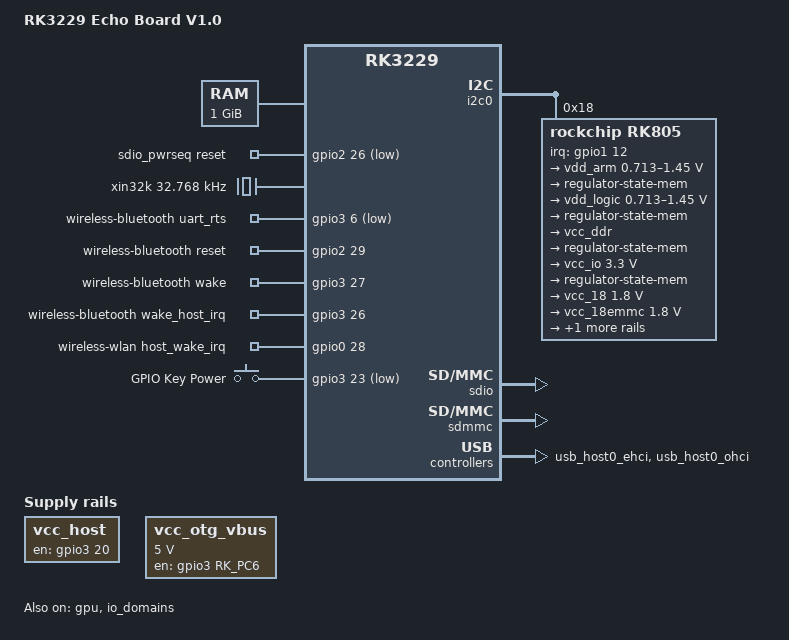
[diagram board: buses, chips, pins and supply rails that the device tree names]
/*
 * Copyright (c) 2017 Fuzhou Rockchip Electronics Co., Ltd
 *
 * This file is dual-licensed: you can use it either under the terms
 * of the GPL or the X11 license, at your option. Note that this dual
 * licensing only applies to this file, and not this project as a
 * whole.
 *
 *  a) This file is free software; you can redistribute it and/or
 *     modify it under the terms of the GNU General Public License as
 *     published by the Free Software Foundation; either version 2 of the
 *     License, or (at your option) any later version.
 *
 *     This file is distributed in the hope that it will be useful,
 *     but WITHOUT ANY WARRANTY; without even the implied warranty of
 *     MERCHANTABILITY or FITNESS FOR A PARTICULAR PURPOSE.  See the
 *     GNU General Public License for more details.
 *
 *  Or, alternatively,
 *
 *  b) Permission is hereby granted, free of charge, to any person
 *     obtaining a copy of this software and associated documentation
 *     files (the "Software"), to deal in the Software without
 *     restriction, including without limitation the rights to use,
 *     copy, modify, merge, publish, distribute, sublicense, and/or
 *     sell copies of the Software, and to permit persons to whom the
 *     Software is furnished to do so, subject to the following
 *     conditions:
 *
 *     The above copyright notice and this permission notice shall be
 *     included in all copies or substantial portions of the Software.
 *
 *     THE SOFTWARE IS PROVIDED "AS IS", WITHOUT WARRANTY OF ANY KIND,
 *     EXPRESS OR IMPLIED, INCLUDING BUT NOT LIMITED TO THE WARRANTIES
 *     OF MERCHANTABILITY, FITNESS FOR A PARTICULAR PURPOSE AND
 *     NONINFRINGEMENT. IN NO EVENT SHALL THE AUTHORS OR COPYRIGHT
 *     HOLDERS BE LIABLE FOR ANY CLAIM, DAMAGES OR OTHER LIABILITY,
 *     WHETHER IN AN ACTION OF CONTRACT, TORT OR OTHERWISE, ARISING
 *     FROM, OUT OF OR IN CONNECTION WITH THE SOFTWARE OR THE USE OR
 *     OTHER DEALINGS IN THE SOFTWARE.
 */

/dts-v1/;

#include "rk322x.dtsi"
#include "rk3229-cpu-opp.dtsi"
#include "rk322x-android.dtsi"

/ {
	model = "RK3229 Echo Board V1.0";
	compatible = "rockchip,rk3229-echo", "rockchip,rk3229";

	memory@60000000 {
		device_type = "memory";
		reg = <0x60000000 0x40000000>;
	};

	reserved-memory {
		#address-cells = <1>;
		#size-cells = <1>;
		ranges;

		trust_reserved: trust@0x68400000 {
			 reg = <0x68400000 0xe00000>;
			 no-map;
		};
	};

	sdio_pwrseq: sdio-pwrseq {
		compatible = "mmc-pwrseq-simple";
		clocks = <&rk805 1>;
		clock-names = "ext_clock";
		pinctrl-names = "default";
		pinctrl-0 = <&wifi_enable_h>;

		/*
		 * On the module itself this is one of these (depending
		 * on the actual card populated):
		 * - SDIO_RESET_L_WL_REG_ON
		 * - PDN (power down when low)
		 */
		reset-gpios = <&gpio2 26 GPIO_ACTIVE_LOW>; /* GPIO2_D2 */
	};

	vcc_host: vcc-host-regulator {
		compatible = "regulator-fixed";
		enable-active-high;
		gpio = <&gpio3 20 GPIO_ACTIVE_HIGH>;
		pinctrl-names = "default";
		pinctrl-0 = <&host_vbus_drv>;
		regulator-name = "vcc_host";
		regulator-always-on;
		regulator-boot-on;
	};

	vcc_otg_vbus: otg-vbus-regulator {
		compatible = "regulator-fixed";
		gpio = <&gpio3 RK_PC6 GPIO_ACTIVE_HIGH>;
		pinctrl-names = "default";
		pinctrl-0 = <&otg_vbus_drv>;
		regulator-name = "vcc_otg_vbus";
		regulator-min-microvolt = <5000000>;
		regulator-max-microvolt = <5000000>;
		enable-active-high;
	};

	xin32k: xin32k {
		compatible = "fixed-clock";
		clock-frequency = <32768>;
		clock-output-names = "xin32k";
		#clock-cells = <0>;
	};

	wireless-bluetooth {
		compatible = "bluetooth-platdata";
		clocks = <&rk805 1>;
		clock-names = "ext_clock";
		uart_rts_gpios = <&gpio3 6 GPIO_ACTIVE_LOW>;
		pinctrl-names = "default", "rts_gpio";
		pinctrl-0 = <&uart11_rts>;
		pinctrl-1 = <&uart11_rts_gpio>;
		BT,reset_gpio    = <&gpio2 29 GPIO_ACTIVE_HIGH>;
		BT,wake_gpio     = <&gpio3 27 GPIO_ACTIVE_HIGH>;
		BT,wake_host_irq = <&gpio3 26 GPIO_ACTIVE_HIGH>;
		status = "okay";
	};

	wireless-wlan {
		compatible = "wlan-platdata";
		rockchip,grf = <&grf>;
		wifi_chip_type = "ap6255";
		WIFI,host_wake_irq = <&gpio0 28 GPIO_ACTIVE_HIGH>;
		status = "okay";
	};

	gpio_keys {
		compatible = "gpio-keys";
		#address-cells = <1>;
		#size-cells = <0>;
		autorepeat;

		pinctrl-names = "default";
		pinctrl-0 = <&pwr_key>;

		power_key: power-key {
			label = "GPIO Key Power";
			gpios = <&gpio3 23 GPIO_ACTIVE_LOW>;
			linux,code = <116>;
			debounce-interval = <100>;
			wakeup-source;
		};
	};
};

&firmware_android {
	compatible = "android,firmware";
	fstab {
		compatible = "android,fstab";
		system {
			compatible = "android,system";
			dev = "/dev/block/by-name/system";
			type = "ext4";
			mnt_flags = "ro,barrier=1,inode_readahead_blks=8";
			fsmgr_flags = "wait,verify";
		};
		vendor {
			compatible = "android,vendor";
			dev = "/dev/block/by-name/vendor";
			type = "ext4";
			mnt_flags = "ro,barrier=1,inode_readahead_blks=8";
			fsmgr_flags = "wait,verify";
		};
	};
};

&gpu {
	status = "okay";
	mali-supply = <&vdd_logic>;
};

&i2c0 {
	status = "okay";

	rk805: rk805@18 {
		compatible = "rockchip,rk805";
		status = "okay";
		reg = <0x18>;
		interrupt-parent = <&gpio1>;
		interrupts = <12 IRQ_TYPE_LEVEL_LOW>;
		pinctrl-names = "default";
		pinctrl-0 = <&pmic_int_l>;
		rockchip,system-power-controller;
		wakeup-source;
		gpio-controller;
		#gpio-cells = <2>;
		#clock-cells = <1>;
		clock-output-names = "rk805-clkout1", "rk805-clkout2";

		rtc {
			status = "okay";
		};

		pwrkey {
			status = "okay";
		};

		gpio {
			status = "okay";
		};

		regulators {
			compatible = "rk805-regulator";
			status = "okay";
			#address-cells = <1>;
			#size-cells = <0>;

			vdd_arm: RK805_DCDC1@0 {
				regulator-compatible = "RK805_DCDC1";
				regulator-name = "vdd_arm";
				regulator-min-microvolt = <712500>;
				regulator-max-microvolt = <1450000>;
				regulator-initial-mode = <0x1>;
				regulator-ramp-delay = <12500>;
				regulator-boot-on;
				regulator-always-on;
				regulator-state-mem {
					regulator-mode = <0x2>;
					regulator-on-in-suspend;
					regulator-suspend-microvolt = <950000>;
				};
			};

			vdd_logic: RK805_DCDC2@1 {
				regulator-compatible = "RK805_DCDC2";
				regulator-name = "vdd_logic";
				regulator-min-microvolt = <712500>;
				regulator-max-microvolt = <1450000>;
				regulator-initial-mode = <0x1>;
				regulator-ramp-delay = <12500>;
				regulator-boot-on;
				regulator-always-on;
				regulator-state-mem {
					regulator-mode = <0x2>;
					regulator-on-in-suspend;
					regulator-suspend-microvolt = <1000000>;
				};
			};

			vcc_ddr: RK805_DCDC3@2 {
				regulator-compatible = "RK805_DCDC3";
				regulator-name = "vcc_ddr";
				regulator-initial-mode = <0x1>;
				regulator-boot-on;
				regulator-always-on;
				regulator-state-mem {
					regulator-mode = <0x2>;
					regulator-on-in-suspend;
				};
			};

			vcc_io: RK805_DCDC4@3 {
				regulator-compatible = "RK805_DCDC4";
				regulator-name = "vcc_io";
				regulator-min-microvolt = <3300000>;
				regulator-max-microvolt = <3300000>;
				regulator-initial-mode = <0x1>;
				regulator-boot-on;
				regulator-always-on;
				regulator-state-mem {
					regulator-mode = <0x2>;
					regulator-on-in-suspend;
					regulator-suspend-microvolt = <3300000>;
				};
			};

			vcc_18: RK805_LDO1@4 {
				regulator-compatible = "RK805_LDO1";
				regulator-name = "vcc_18";
				regulator-min-microvolt = <1800000>;
				regulator-max-microvolt = <1800000>;
				regulator-boot-on;
				regulator-always-on;
				regulator-state-mem {
					regulator-on-in-suspend;
					regulator-suspend-microvolt = <1800000>;
				};
			};

			vcc_18emmc: RK805_LDO2@5 {
				regulator-compatible = "RK805_LDO2";
				regulator-name = "vcc_18emmc";
				regulator-min-microvolt = <1800000>;
				regulator-max-microvolt = <1800000>;
				regulator-boot-on;
				regulator-always-on;
				regulator-state-mem {
					regulator-on-in-suspend;
					regulator-suspend-microvolt = <1800000>;
				};
			};

			vdd_10: RK805_LDO3@6 {
				regulator-compatible = "RK805_LDO3";
				regulator-name = "vdd_10";
				regulator-min-microvolt = <1000000>;
				regulator-max-microvolt = <1000000>;
				regulator-boot-on;
				regulator-always-on;
				regulator-state-mem {
					regulator-on-in-suspend;
					regulator-suspend-microvolt = <1000000>;
				};
			};
		};
	};
};

&cpu0 {
	cpu-supply = <&vdd_arm>;
};

&io_domains {
	status = "okay";

	vccio1-supply = <&vcc_io>;
	vccio2-supply = <&vcc_18>;
	vccio4-supply = <&vcc_io>;
};

&pinctrl {
	pmic {
		pmic_int_l: pmic-int-l {
			rockchip,pins = <1 12 RK_FUNC_GPIO &pcfg_pull_up>; /* gpio1_b4 */
		};
	};

	sdio-pwrseq {
		wifi_enable_h: wifi-enable-h {
			rockchip,pins = <2 26 RK_FUNC_GPIO &pcfg_pull_none>;
		};
	};

	usb {
		host_vbus_drv: host-vbus-drv {
			rockchip,pins = <3 20 RK_FUNC_GPIO &pcfg_pull_none>;
		};

		otg_vbus_drv: otg-vbus-drv {
			rockchip,pins = <3 RK_PC6 RK_FUNC_GPIO &pcfg_pull_none>;
		};
	};

	keys {
		pwr_key: pwr-key {
			rockchip,pins = <3 23 RK_FUNC_GPIO &pcfg_pull_up>;
		};
	};
};

&sdio {
	max-frequency = <150000000>;
	mmc-pwrseq = <&sdio_pwrseq>;
	num-slots = <1>;
	sd-uhs-sdr104;
	status = "okay";
};

&sdmmc {
	status = "okay";
};

&u2phy0_host {
	phy-supply = <&vcc_host>;
};

&u2phy0_otg {
	vbus-supply = <&vcc_otg_vbus>;
};

&usb_host0_ehci {
	status = "okay";
};

&usb_host0_ohci {
	status = "okay";
};
